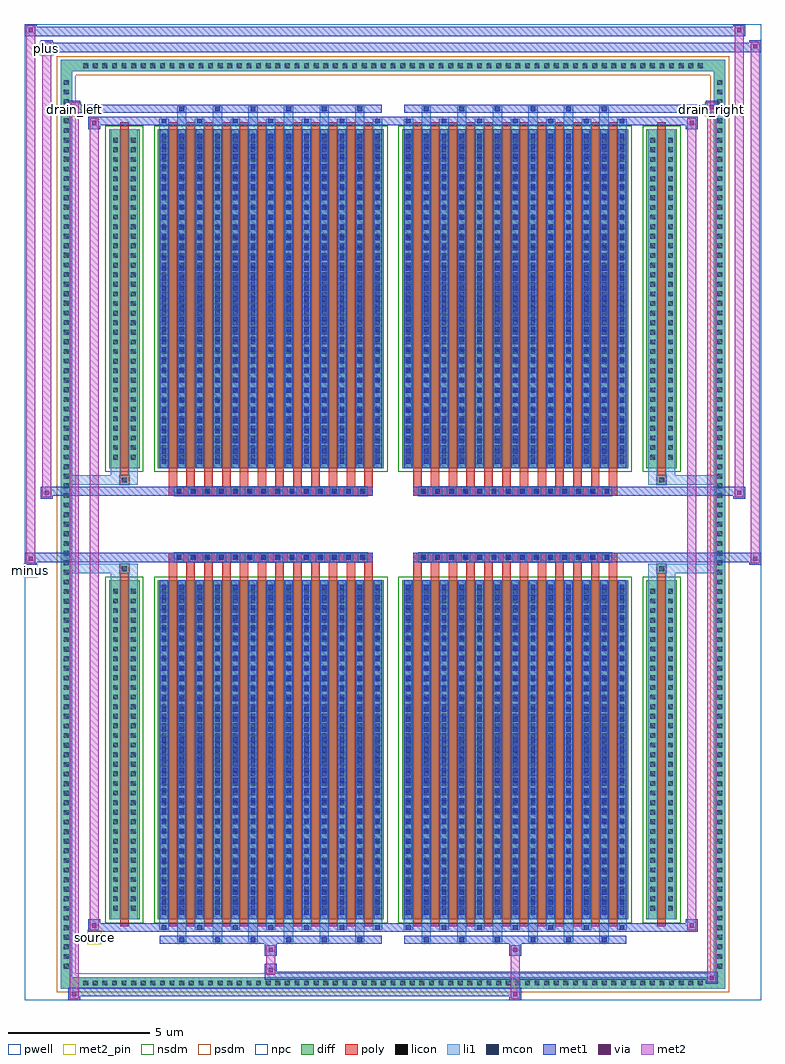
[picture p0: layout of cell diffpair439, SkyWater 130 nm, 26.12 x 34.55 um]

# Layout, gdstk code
import gdstk
lib = gdstk.Library(unit=1e-6, precision=5e-09)
def R(c, l, rs):  # rectangles x0, y0, x1, y1
    for r in rs: c.add(gdstk.rectangle(r[:2], r[2:], *l))
def A(c, l, x, y, w, h, nx, ny, dx, dy):  # array of equal rectangles
    R(c, l, [(x+i*dx, y+j*dy, x+i*dx+w, y+j*dy+h) for i in range(nx) for j in range(ny)])
def P(c, l, *ps):  # polygons
    for p in ps: c.add(gdstk.Polygon(p, *l))
pwell = (64, 44)
diff = (65, 20)
poly = (66, 20)
licon = (66, 44)
li1 = (67, 20)
mcon = (67, 44)
met1 = (68, 20)
via = (68, 44)
met2_pin = (69, 16)
met2 = (69, 20)
nsdm = (93, 44)
psdm = (94, 20)
npc = (95, 20)

diffpair439 = lib.new_cell('diffpair439')
R(diffpair439, pwell, [(-13.04,-16.84,13.04,17.71), (-10.36,-15.03,-0.01,-0.805), (0.01,-15.03,10.36,-0.805), (-10.36,0.805,-0.01,15.03), (0.01,0.805,10.36,15.03)])
A(diffpair439, diff, -11.085, -16.44, 0.41, 0.41, 65, 2, 0.34, 32.47)
A(diffpair439, diff, -11.77, -15.845, 0.41, 0.41, 1, 93, 0, 0.34)
A(diffpair439, diff, 11.36, -15.845, 0.41, 0.41, 1, 93, 0, 0.34)
R(diffpair439, diff, [(-11.085,-16.44,11.085,-16.03), (-11.77,-15.845,-11.36,15.845), (11.36,-15.845,11.77,15.845), (-10.05,-13.985,-8.97,-1.985), (-8.33,-13.985,-0.32,-1.985), (0.32,-13.985,8.33,-1.985), (8.97,-13.985,10.05,-1.985), (-10.05,1.985,-8.97,13.985), (-8.33,1.985,-0.32,13.985), (0.32,1.985,8.33,13.985), (8.97,1.985,10.05,13.985), (-11.085,16.03,11.085,16.44)])
P(diffpair439, diff, [(11.77,16.44),(-11.77,16.44),(-11.77,-16.03),(-11.36,-16.03),(-11.36,16.03),(11.36,16.03),(11.36,-16.03),(-11.36,-16.03),(-11.77,-16.03),(-11.77,-16.44),(11.77,-16.44)])
A(diffpair439, poly, -7.94, -14.235, 0.3, 12.5, 12, 2, 0.63, 15.97)
A(diffpair439, poly, 0.71, -14.235, 0.3, 12.5, 12, 2, 0.63, 15.97)
A(diffpair439, poly, -7.94, -1.735, 0.3, 0.4, 12, 2, 0.63, 3.07)
A(diffpair439, poly, 0.71, -1.735, 0.3, 0.4, 12, 2, 0.63, 3.07)
A(diffpair439, poly, -7.74, -1.335, 0.33, 0.33, 14, 2, 0.5, 2.34)
A(diffpair439, poly, 0.91, -1.335, 0.33, 0.33, 14, 2, 0.5, 2.34)
R(diffpair439, poly, [(-9.66,-14.235,-9.36,-1.735), (9.36,-14.235,9.66,-1.735), (-9.675,-1.735,-9.345,-1.405), (-9.675,-1.735,-9.345,-1.405), (9.345,-1.735,9.675,-1.405), (9.345,-1.735,9.675,-1.405), (-7.94,-1.335,-0.71,-1.005), (0.71,-1.335,7.94,-1.005), (-7.94,1.005,-0.71,1.335), (0.71,1.005,7.94,1.335), (-9.675,1.405,-9.345,1.735), (-9.675,1.405,-9.345,1.735), (9.345,1.405,9.675,1.735), (9.345,1.405,9.675,1.735), (-9.66,1.735,-9.36,14.235), (9.36,1.735,9.66,14.235)])
A(diffpair439, licon, -10.965, -16.32, 0.17, 0.17, 65, 2, 0.34, 32.47)
A(diffpair439, licon, -11.65, -15.725, 0.17, 0.17, 1, 93, 0, 0.34)
A(diffpair439, licon, 11.48, -15.725, 0.17, 0.17, 1, 93, 0, 0.34)
A(diffpair439, licon, -9.91, -13.68, 0.17, 0.17, 1, 34, 0, 0.34)
A(diffpair439, licon, -9.28, -13.68, 0.17, 0.17, 1, 34, 0, 0.34)
A(diffpair439, licon, -8.19, -13.68, 0.17, 0.17, 13, 34, 0.63, 0.34)
A(diffpair439, licon, 0.46, -13.68, 0.17, 0.17, 13, 34, 0.63, 0.34)
A(diffpair439, licon, 9.11, -13.68, 0.17, 0.17, 1, 34, 0, 0.34)
A(diffpair439, licon, 9.74, -13.68, 0.17, 0.17, 1, 34, 0, 0.34)
A(diffpair439, licon, -7.66, -1.255, 0.17, 0.17, 14, 2, 0.5, 2.34)
A(diffpair439, licon, 0.99, -1.255, 0.17, 0.17, 14, 2, 0.5, 2.34)
A(diffpair439, licon, -9.91, 2.29, 0.17, 0.17, 1, 34, 0, 0.34)
A(diffpair439, licon, -9.28, 2.29, 0.17, 0.17, 1, 34, 0, 0.34)
A(diffpair439, licon, -8.19, 2.29, 0.17, 0.17, 13, 34, 0.63, 0.34)
A(diffpair439, licon, 0.46, 2.29, 0.17, 0.17, 13, 34, 0.63, 0.34)
A(diffpair439, licon, 9.11, 2.29, 0.17, 0.17, 1, 34, 0, 0.34)
A(diffpair439, licon, 9.74, 2.29, 0.17, 0.17, 1, 34, 0, 0.34)
R(diffpair439, licon, [(-9.595,-1.655,-9.425,-1.485), (9.425,-1.655,9.595,-1.485), (-9.595,1.485,-9.425,1.655), (9.425,1.485,9.595,1.655)])
A(diffpair439, li1, -11.045, -16.4, 0.33, 0.33, 65, 2, 0.34, 32.47)
A(diffpair439, li1, -11.73, -15.805, 0.33, 0.33, 1, 93, 0, 0.34)
A(diffpair439, li1, 11.4, -15.805, 0.33, 0.33, 1, 93, 0, 0.34)
A(diffpair439, li1, -7.64, -14.79, 0.33, 0.805, 6, 2, 1.26, 28.775)
A(diffpair439, li1, -7.56, -14.79, 0.17, 0.17, 6, 2, 1.26, 29.41)
A(diffpair439, li1, 1.01, -14.79, 0.33, 0.805, 6, 2, 1.26, 28.775)
A(diffpair439, li1, 1.09, -14.79, 0.17, 0.17, 6, 2, 1.26, 29.41)
A(diffpair439, li1, -8.27, -14.36, 0.33, 0.375, 7, 2, 1.26, 28.345)
A(diffpair439, li1, -8.19, -14.36, 0.17, 0.17, 7, 2, 1.26, 28.55)
A(diffpair439, li1, 0.38, -14.36, 0.33, 0.375, 7, 2, 1.26, 28.345)
A(diffpair439, li1, 0.46, -14.36, 0.17, 0.17, 7, 2, 1.26, 28.55)
A(diffpair439, li1, -8.27, -13.985, 0.33, 12, 13, 2, 0.63, 15.97)
A(diffpair439, li1, 0.38, -13.985, 0.33, 12, 13, 2, 0.63, 15.97)
A(diffpair439, li1, -8.19, -13.83, 0.17, 0.17, 13, 33, 0.63, 0.36)
A(diffpair439, li1, -8.19, -13.83, 0.17, 11.69, 13, 2, 0.63, 15.97)
A(diffpair439, li1, 0.46, -13.83, 0.17, 0.17, 13, 33, 0.63, 0.36)
A(diffpair439, li1, 0.46, -13.83, 0.17, 11.69, 13, 2, 0.63, 15.97)
A(diffpair439, li1, -9.99, -13.76, 0.33, 0.33, 1, 34, 0, 0.34)
A(diffpair439, li1, -9.36, -13.76, 0.33, 0.33, 1, 34, 0, 0.34)
A(diffpair439, li1, -8.27, -13.76, 0.33, 0.33, 13, 34, 0.63, 0.34)
A(diffpair439, li1, 0.38, -13.76, 0.33, 0.33, 13, 34, 0.63, 0.34)
A(diffpair439, li1, 9.03, -13.76, 0.33, 0.33, 1, 34, 0, 0.34)
A(diffpair439, li1, 9.66, -13.76, 0.33, 0.33, 1, 34, 0, 0.34)
A(diffpair439, li1, -7.74, -1.335, 0.33, 0.33, 14, 2, 0.5, 2.34)
A(diffpair439, li1, 0.91, -1.335, 0.33, 0.33, 14, 2, 0.5, 2.34)
A(diffpair439, li1, -8.19, 2.14, 0.17, 0.17, 13, 33, 0.63, 0.36)
A(diffpair439, li1, 0.46, 2.14, 0.17, 0.17, 13, 33, 0.63, 0.36)
A(diffpair439, li1, -9.99, 2.21, 0.33, 0.33, 1, 34, 0, 0.34)
A(diffpair439, li1, -9.36, 2.21, 0.33, 0.33, 1, 34, 0, 0.34)
A(diffpair439, li1, -8.27, 2.21, 0.33, 0.33, 13, 34, 0.63, 0.34)
A(diffpair439, li1, 0.38, 2.21, 0.33, 0.33, 13, 34, 0.63, 0.34)
A(diffpair439, li1, 9.03, 2.21, 0.33, 0.33, 1, 34, 0, 0.34)
A(diffpair439, li1, 9.66, 2.21, 0.33, 0.33, 1, 34, 0, 0.34)
R(diffpair439, li1, [(-11.77,-16.44,-11.36,-16.03), (-11.77,-16.44,-11.36,-16.03), (-11.36,-16.44,11.36,-16.03), (11.36,-16.44,11.77,-16.03), (11.36,-16.44,11.77,-16.03), (-11.77,-16.03,-11.36,16.03), (11.36,-16.03,11.77,16.03), (-9.99,-13.985,-9.66,-1.985), (-9.36,-13.985,-9.03,-1.985), (9.03,-13.985,9.36,-1.985), (9.66,-13.985,9.99,-1.985), (-9.99,-1.985,-9.66,-1.405), (-9.36,-1.985,-9.03,-1.405), (9.03,-1.985,9.36,-1.405), (9.66,-1.985,9.99,-1.405), (-11.77,-1.735,-9.675,-1.405), (-9.99,-1.735,-9.675,-1.405), (-9.675,-1.735,-9.345,-1.405), (-9.345,-1.735,-9.03,-1.405), (9.03,-1.735,9.345,-1.405), (9.345,-1.735,9.675,-1.405), (9.345,-1.735,11.77,-1.405), (9.675,-1.735,9.99,-1.405), (-11.77,1.405,-9.675,1.735), (-9.99,1.405,-9.675,1.735), (-9.99,1.405,-9.66,1.985), (-9.675,1.405,-9.345,1.735), (-9.36,1.405,-9.03,1.985), (-9.345,1.405,-9.03,1.735), (9.03,1.405,9.345,1.735), (9.03,1.405,9.36,1.985), (9.345,1.405,9.675,1.735), (9.345,1.405,11.77,1.735), (9.66,1.405,9.99,1.985), (9.675,1.405,9.99,1.735), (-9.99,1.985,-9.66,13.985), (-9.36,1.985,-9.03,13.985), (9.03,1.985,9.36,13.985), (9.66,1.985,9.99,13.985), (-11.77,16.03,-11.36,16.44), (-11.77,16.03,-11.36,16.44), (-11.36,16.03,11.36,16.44), (11.36,16.03,11.77,16.44), (11.36,16.03,11.77,16.44)])
A(diffpair439, mcon, -7.56, -14.79, 0.17, 0.17, 6, 2, 1.26, 29.41)
A(diffpair439, mcon, 1.09, -14.79, 0.17, 0.17, 6, 2, 1.26, 29.41)
A(diffpair439, mcon, -8.19, -14.36, 0.17, 0.17, 7, 2, 1.26, 28.55)
A(diffpair439, mcon, 0.46, -14.36, 0.17, 0.17, 7, 2, 1.26, 28.55)
A(diffpair439, mcon, -8.19, -13.83, 0.17, 0.17, 13, 33, 0.63, 0.36)
A(diffpair439, mcon, 0.46, -13.83, 0.17, 0.17, 13, 33, 0.63, 0.36)
A(diffpair439, mcon, -7.66, -1.255, 0.17, 0.17, 14, 2, 0.5, 2.34)
A(diffpair439, mcon, 0.99, -1.255, 0.17, 0.17, 14, 2, 0.5, 2.34)
A(diffpair439, mcon, -8.19, 2.14, 0.17, 0.17, 13, 33, 0.63, 0.36)
A(diffpair439, mcon, 0.46, 2.14, 0.17, 0.17, 13, 33, 0.63, 0.36)
A(diffpair439, met1, -7.62, -14.85, 0.29, 0.29, 6, 2, 1.26, 29.41)
A(diffpair439, met1, 1.03, -14.85, 0.29, 0.29, 6, 2, 1.26, 29.41)
A(diffpair439, met1, -8.25, -14.42, 0.29, 0.29, 7, 2, 1.26, 28.55)
A(diffpair439, met1, 0.4, -14.42, 0.29, 0.29, 7, 2, 1.26, 28.55)
A(diffpair439, met1, -8.25, -13.985, 0.29, 12, 13, 2, 0.63, 15.97)
A(diffpair439, met1, 0.4, -13.985, 0.29, 12, 13, 2, 0.63, 15.97)
A(diffpair439, met1, -8.25, -13.89, 0.29, 0.29, 13, 33, 0.63, 0.36)
A(diffpair439, met1, 0.4, -13.89, 0.29, 0.29, 13, 33, 0.63, 0.36)
A(diffpair439, met1, -7.72, -1.315, 0.29, 0.29, 14, 2, 0.5, 2.34)
A(diffpair439, met1, 0.93, -1.315, 0.29, 0.29, 14, 2, 0.5, 2.34)
A(diffpair439, met1, -8.25, 2.08, 0.29, 0.29, 13, 33, 0.63, 0.36)
A(diffpair439, met1, 0.4, 2.08, 0.29, 0.29, 13, 33, 0.63, 0.36)
R(diffpair439, met1, [(-11.5,-16.84,-11.07,-16.41), (4.11,-16.84,4.54,-16.41), (-11.5,-16.7,4.54,-16.41), (11.07,-16.27,11.5,-15.84), (-4.54,-16.13,11.5,-15.84), (-4.54,-15.99,-4.11,-15.56), (-4.54,-15.28,-4.11,-14.85), (4.11,-15.28,4.54,-14.85), (-8.25,-14.85,-0.4,-14.56), (0.4,-14.85,8.25,-14.56), (-10.79,-14.42,-10.36,-13.99), (-10.79,-14.42,-8.25,-14.13), (-8.25,-14.42,-0.4,-14.13), (-0.4,-14.42,0.4,-14.13), (0.4,-14.42,8.25,-14.13), (8.25,-14.42,10.79,-14.13), (10.36,-14.42,10.79,-13.99), (-13.04,-1.435,-12.61,-1.005), (12.61,-1.435,13.04,-1.005), (-13.04,-1.335,-0.71,-1.005), (-7.94,-1.335,-0.71,-1.005), (0.71,-1.335,7.94,-1.005), (0.71,-1.335,13.04,-1.005), (-12.47,0.905,-12.04,1.335), (12.04,0.905,12.47,1.335), (-12.47,1.005,-7.94,1.335), (-7.94,1.005,-0.71,1.335), (0.71,1.005,7.94,1.335), (7.94,1.005,12.47,1.335), (-10.79,13.99,-10.36,14.42), (10.36,13.99,10.79,14.42), (-10.79,14.13,-8.25,14.42), (-8.25,14.13,-0.4,14.42), (-0.4,14.13,0.4,14.42), (0.4,14.13,8.25,14.42), (8.25,14.13,10.79,14.42), (-11.5,14.56,-11.07,14.99), (-11.5,14.56,-8.25,14.85), (-8.25,14.56,-0.4,14.85), (0.4,14.56,8.25,14.85), (8.25,14.56,11.5,14.85), (11.07,14.56,11.5,14.99), (-12.47,16.71,-12.04,17.14), (-12.47,16.71,-10.36,17.04), (-10.36,16.71,10.36,17.04), (10.36,16.71,13.04,17.04), (12.61,16.71,13.04,17.14), (-13.04,17.28,-12.61,17.71), (-13.04,17.28,-10.36,17.61), (-10.36,17.28,10.36,17.61), (10.36,17.28,12.47,17.61), (12.04,17.28,12.47,17.71)])
R(diffpair439, via, [(-11.36,-16.7,-11.21,-16.55), (4.25,-16.7,4.4,-16.55), (11.21,-16.13,11.36,-15.98), (-4.4,-15.85,-4.25,-15.7), (-4.4,-15.14,-4.25,-14.99), (4.25,-15.14,4.4,-14.99), (-10.65,-14.28,-10.5,-14.13), (10.5,-14.28,10.65,-14.13), (-12.9,-1.295,-12.75,-1.145), (12.75,-1.295,12.9,-1.145), (-12.33,1.045,-12.18,1.195), (12.18,1.045,12.33,1.195), (-10.65,14.13,-10.5,14.28), (10.5,14.13,10.65,14.28), (-11.36,14.7,-11.21,14.85), (11.21,14.7,11.36,14.85), (-12.33,16.85,-12.18,17), (12.75,16.85,12.9,17), (-12.9,17.42,-12.75,17.57), (12.18,17.42,12.33,17.57)])
R(diffpair439, met2_pin, [(-10.825,-14.87,-10.325,-14.37), (-13.075,-1.885,-12.575,-1.385), (-11.535,14.44,-11.035,14.94), (11.035,14.44,11.535,14.94), (-12.505,16.59,-12.005,17.09)])
R(diffpair439, met2, [(-11.45,-16.79,-11.12,-16.46), (-11.45,-16.79,-11.12,14.94), (4.16,-16.79,4.49,-16.46), (4.16,-16.46,4.49,-15.23), (11.12,-16.22,11.45,-15.89), (11.12,-16.22,11.45,14.94), (-4.49,-15.94,-4.16,-15.61), (-4.49,-15.61,-4.16,-15.23), (-4.49,-15.23,-4.16,-14.9), (4.16,-15.23,4.49,-14.9), (-10.74,-14.37,-10.41,-14.04), (-10.74,-14.37,-10.41,14.37), (10.41,-14.37,10.74,-14.04), (10.41,-14.37,10.74,14.37), (-12.99,-1.385,-12.66,-1.055), (-12.99,-1.385,-12.66,17.66), (12.66,-1.385,12.99,-1.055), (12.66,-1.385,12.99,17.09), (-12.42,0.955,-12.09,1.285), (-12.42,0.955,-12.09,17.09), (12.09,0.955,12.42,1.285), (12.09,0.955,12.42,17.66), (-10.74,14.04,-10.41,14.37), (10.41,14.04,10.74,14.37), (-11.45,14.61,-11.12,14.94), (11.12,14.61,11.45,14.94), (-12.42,16.76,-12.09,17.09), (12.66,16.76,12.99,17.09), (-12.99,17.33,-12.66,17.66), (12.09,17.33,12.42,17.66)])
P(diffpair439, met2, [(12.99,-1.385),(12.99,-1.385),(12.99,-1.055),(12.99,-1.055)],
  [(12.99,16.76),(12.99,16.76),(12.99,17.09),(12.99,17.09)],
  [(-12.66,-1.385),(-12.66,-1.385),(-12.66,-1.055),(-12.66,-1.055)],
  [(-12.66,17.33),(-12.66,17.33),(-12.66,17.66),(-12.66,17.66)],
  [(12.42,0.955),(12.42,0.955),(12.42,1.285),(12.42,1.285)],
  [(12.42,17.33),(12.42,17.33),(12.42,17.66),(12.42,17.66)],
  [(-12.09,0.955),(-12.09,0.955),(-12.09,1.285),(-12.09,1.285)],
  [(-12.09,16.76),(-12.09,16.76),(-12.09,17.09),(-12.09,17.09)],
  [(-11.12,-16.79),(-11.12,-16.79),(-11.12,-16.46),(-11.12,-16.46)],
  [(-11.12,14.61),(-11.12,14.61),(-11.12,14.94),(-11.12,14.94)],
  [(11.45,-16.22),(11.45,-16.22),(11.45,-15.89),(11.45,-15.89)],
  [(11.45,14.61),(11.45,14.61),(11.45,14.94),(11.45,14.94)],
  [(-10.41,-14.37),(-10.41,-14.37),(-10.41,-14.04),(-10.41,-14.04)],
  [(-10.41,14.04),(-10.41,14.04),(-10.41,14.37),(-10.41,14.37)],
  [(10.74,-14.37),(10.74,-14.37),(10.74,-14.04),(10.74,-14.04)],
  [(10.74,14.04),(10.74,14.04),(10.74,14.37),(10.74,14.37)])
R(diffpair439, nsdm, [(-10.18,-14.115,-8.84,-1.855), (-8.46,-14.115,-0.19,-1.855), (0.19,-14.115,8.46,-1.855), (8.84,-14.115,10.18,-1.855), (-10.18,1.855,-8.84,14.115), (-8.46,1.855,-0.19,14.115), (0.19,1.855,8.46,14.115), (8.84,1.855,10.18,14.115)])
P(diffpair439, psdm, [(11.9,16.57),(-11.9,16.57),(-11.9,-15.9),(-11.23,-15.9),(-11.23,15.9),(11.23,15.9),(11.23,-15.9),(-11.23,-15.9),(-11.9,-15.9),(-11.9,-16.57),(11.9,-16.57)])
A(diffpair439, npc, -7.76, -1.355, 0.37, 0.37, 14, 2, 0.5, 2.34)
A(diffpair439, npc, 0.89, -1.355, 0.37, 0.37, 14, 2, 0.5, 2.34)
R(diffpair439, npc, [(-9.695,-1.755,-9.325,-1.385), (9.325,-1.755,9.695,-1.385), (-7.76,-1.355,-6.89,-0.985), (-7.76,-1.355,-6.89,-0.985), (-7.26,-1.355,-6.39,-0.985), (-7.26,-1.355,-6.39,-0.985), (-6.76,-1.355,-5.89,-0.985), (-6.76,-1.355,-5.89,-0.985), (-6.26,-1.355,-5.39,-0.985), (-6.26,-1.355,-5.39,-0.985), (-5.76,-1.355,-4.89,-0.985), (-5.76,-1.355,-4.89,-0.985), (-5.26,-1.355,-4.39,-0.985), (-5.26,-1.355,-4.39,-0.985), (-4.76,-1.355,-3.89,-0.985), (-4.76,-1.355,-3.89,-0.985), (-4.26,-1.355,-3.39,-0.985), (-4.26,-1.355,-3.39,-0.985), (-3.76,-1.355,-2.89,-0.985), (-3.76,-1.355,-2.89,-0.985), (-3.26,-1.355,-2.39,-0.985), (-3.26,-1.355,-2.39,-0.985), (-2.76,-1.355,-1.89,-0.985), (-2.76,-1.355,-1.89,-0.985), (-2.26,-1.355,-1.39,-0.985), (-2.26,-1.355,-1.39,-0.985), (-1.76,-1.355,-0.89,-0.985), (-1.76,-1.355,-0.89,-0.985), (0.89,-1.355,1.76,-0.985), (0.89,-1.355,1.76,-0.985), (1.39,-1.355,2.26,-0.985), (1.39,-1.355,2.26,-0.985), (1.89,-1.355,2.76,-0.985), (1.89,-1.355,2.76,-0.985), (2.39,-1.355,3.26,-0.985), (2.39,-1.355,3.26,-0.985), (2.89,-1.355,3.76,-0.985), (2.89,-1.355,3.76,-0.985), (3.39,-1.355,4.26,-0.985), (3.39,-1.355,4.26,-0.985), (3.89,-1.355,4.76,-0.985), (3.89,-1.355,4.76,-0.985), (4.39,-1.355,5.26,-0.985), (4.39,-1.355,5.26,-0.985), (4.89,-1.355,5.76,-0.985), (4.89,-1.355,5.76,-0.985), (5.39,-1.355,6.26,-0.985), (5.39,-1.355,6.26,-0.985), (5.89,-1.355,6.76,-0.985), (5.89,-1.355,6.76,-0.985), (6.39,-1.355,7.26,-0.985), (6.39,-1.355,7.26,-0.985), (6.89,-1.355,7.76,-0.985), (6.89,-1.355,7.76,-0.985), (-7.76,0.985,-6.89,1.355), (-7.76,0.985,-6.89,1.355), (-7.26,0.985,-6.39,1.355), (-7.26,0.985,-6.39,1.355), (-6.76,0.985,-5.89,1.355), (-6.76,0.985,-5.89,1.355), (-6.26,0.985,-5.39,1.355), (-6.26,0.985,-5.39,1.355), (-5.76,0.985,-4.89,1.355), (-5.76,0.985,-4.89,1.355), (-5.26,0.985,-4.39,1.355), (-5.26,0.985,-4.39,1.355), (-4.76,0.985,-3.89,1.355), (-4.76,0.985,-3.89,1.355), (-4.26,0.985,-3.39,1.355), (-4.26,0.985,-3.39,1.355), (-3.76,0.985,-2.89,1.355), (-3.76,0.985,-2.89,1.355), (-3.26,0.985,-2.39,1.355), (-3.26,0.985,-2.39,1.355), (-2.76,0.985,-1.89,1.355), (-2.76,0.985,-1.89,1.355), (-2.26,0.985,-1.39,1.355), (-2.26,0.985,-1.39,1.355), (-1.76,0.985,-0.89,1.355), (-1.76,0.985,-0.89,1.355), (0.89,0.985,1.76,1.355), (0.89,0.985,1.76,1.355), (1.39,0.985,2.26,1.355), (1.39,0.985,2.26,1.355), (1.89,0.985,2.76,1.355), (1.89,0.985,2.76,1.355), (2.39,0.985,3.26,1.355), (2.39,0.985,3.26,1.355), (2.89,0.985,3.76,1.355), (2.89,0.985,3.76,1.355), (3.39,0.985,4.26,1.355), (3.39,0.985,4.26,1.355), (3.89,0.985,4.76,1.355), (3.89,0.985,4.76,1.355), (4.39,0.985,5.26,1.355), (4.39,0.985,5.26,1.355), (4.89,0.985,5.76,1.355), (4.89,0.985,5.76,1.355), (5.39,0.985,6.26,1.355), (5.39,0.985,6.26,1.355), (5.89,0.985,6.76,1.355), (5.89,0.985,6.76,1.355), (6.39,0.985,7.26,1.355), (6.39,0.985,7.26,1.355), (6.89,0.985,7.76,1.355), (6.89,0.985,7.76,1.355), (-9.695,1.385,-9.325,1.755), (9.325,1.385,9.695,1.755)])
diffpair439.add(gdstk.Label('minus', (-12.825,-1.635), layer=69, texttype=5))
diffpair439.add(gdstk.Label('drain_right', (11.285,14.69), layer=69, texttype=5))
diffpair439.add(gdstk.Label('drain_left', (-11.285,14.69), layer=69, texttype=5))
diffpair439.add(gdstk.Label('source', (-10.575,-14.62), layer=69, texttype=5))
diffpair439.add(gdstk.Label('plus', (-12.255,16.84), layer=69, texttype=5))

lib.write_gds('diffpair439.gds')
